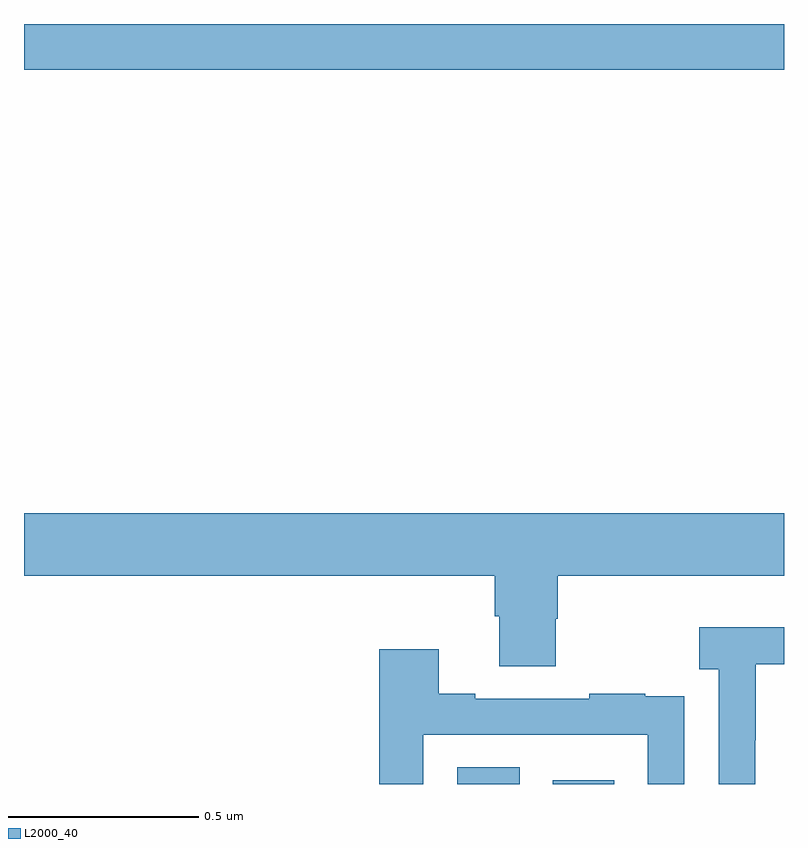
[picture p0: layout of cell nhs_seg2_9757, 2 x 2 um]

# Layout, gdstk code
import gdstk
lib = gdstk.Library(unit=1e-6, precision=1e-09)
def R(c, l, rs):  # rectangles x0, y0, x1, y1
    for r in rs: c.add(gdstk.rectangle(r[:2], r[2:], *l))
def P(c, l, *ps):  # polygons
    for p in ps: c.add(gdstk.Polygon(p, *l))
L2000_40 = (2000, 40)

nhs_seg2_9757 = lib.new_cell('nhs_seg2_9757')
R(nhs_seg2_9757, L2000_40, [(234.14,601.8,234.304,601.844), (234.392,601.8,234.553,601.81), (233,603.68,235,603.8)])
P(nhs_seg2_9757, L2000_40, [(234.399,602.235),(234.404,602.235),(234.404,602.348),(235,602.348),(235,602.512),(233,602.512),(233,602.348),(234.239,602.348),(234.239,602.242),(234.251,602.242),(234.251,602.11),(234.399,602.11)],
  [(234.924,601.915),(234.925,601.915),(234.925,602.115),(235,602.115),(235,602.212),(234.777,602.212),(234.777,602.102),(234.828,602.102),(234.828,601.8),(234.924,601.8)],
  [(234.051,601.929),(234.642,601.929),(234.642,601.8),(234.738,601.8),(234.738,601.922),(234.737,601.922),(234.737,602.031),(234.635,602.031),(234.635,602.038),(234.487,602.038),(234.487,602.025),(234.187,602.025),(234.187,602.038),(234.091,602.038),(234.091,602.155),(233.935,602.155),(233.935,601.8),(234.051,601.8)])

lib.write_gds('nhs_seg2_9757.gds')
